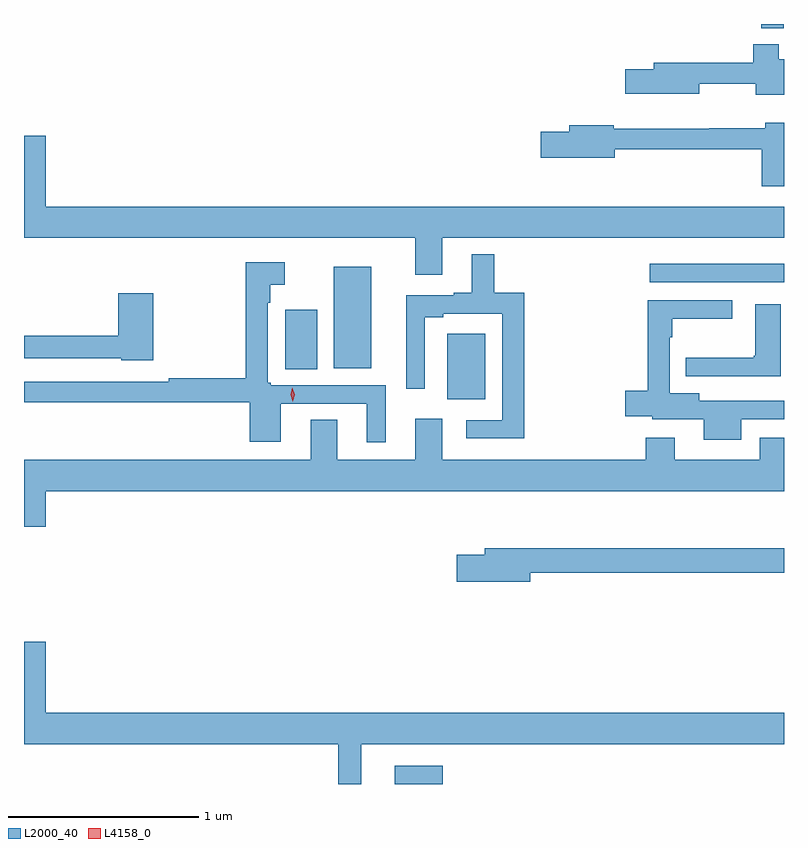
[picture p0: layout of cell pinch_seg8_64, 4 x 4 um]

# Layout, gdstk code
import gdstk
lib = gdstk.Library(unit=1e-6, precision=1e-09)
def R(c, l, rs):  # rectangles x0, y0, x1, y1
    for r in rs: c.add(gdstk.rectangle(r[:2], r[2:], *l))
def P(c, l, *ps):  # polygons
    for p in ps: c.add(gdstk.Polygon(p, *l))
L2000_40 = (2000, 40)
L4158_0 = (4158, 0)

pinch_seg8_64 = lib.new_cell('pinch_seg8_64')
R(pinch_seg8_64, L2000_40, [(910.265,1110.962,910.516,1111.057), (910.541,1112.987,910.741,1113.331), (909.689,1113.145,909.856,1113.457), (909.944,1113.149,910.141,1113.685), (911.607,1113.603,912.313,1113.7), (912.193,1114.94,912.311,1114.962)])
P(pinch_seg8_64, L2000_40, [(912.313,1114.777),(912.286,1114.777),(912.286,1114.855),(912.152,1114.855),(912.152,1114.759),(911.627,1114.759),(911.627,1114.725),(911.478,1114.725),(911.478,1114.595),(911.866,1114.595),(911.866,1114.648),(912.164,1114.648),(912.164,1114.589),(912.313,1114.589)],
  [(912.313,1114.441),(912.215,1114.441),(912.215,1114.413),(911.919,1114.413),(911.919,1114.412),(911.418,1114.412),(911.418,1114.43),(911.183,1114.43),(911.183,1114.394),(911.034,1114.394),(911.034,1114.259),(911.422,1114.259),(911.422,1114.302),(912.196,1114.302),(912.196,1114.107),(912.313,1114.107)],
  [(910.513,1113.836),(912.313,1113.836),(912.313,1114),(908.428,1114),(908.428,1114.375),(908.313,1114.375),(908.313,1113.836),(910.373,1113.836),(910.373,1113.642),(910.513,1113.642)],
  [(910.946,1113.547),(910.787,1113.547),(910.787,1113.751),(910.67,1113.751),(910.67,1113.547),(910.574,1113.547),(910.574,1113.534),(910.325,1113.534),(910.325,1113.042),(910.422,1113.042),(910.422,1113.418),(910.519,1113.418),(910.519,1113.438),(910.83,1113.438),(910.83,1112.877),(910.641,1112.877),(910.641,1112.781),(910.946,1112.781)],
  [(910.216,1113.06),(909.612,1113.06),(909.612,1113.075),(909.597,1113.075),(909.597,1113.494),(909.61,1113.494),(909.61,1113.59),(909.685,1113.59),(909.685,1113.709),(909.481,1113.709),(909.481,1113.098),(909.076,1113.098),(909.076,1113.078),(908.313,1113.078),(908.313,1112.97),(909.5,1112.97),(909.5,1112.763),(909.664,1112.763),(909.664,1112.964),(910.118,1112.964),(910.118,1112.76),(910.216,1112.76)],
  [(908.993,1113.544),(908.81,1113.544),(908.81,1113.32),(908.313,1113.32),(908.313,1113.204),(908.826,1113.204),(908.826,1113.191),(908.993,1113.191)],
  [(912.088,1112.883),(912.313,1112.883),(912.313,1112.979),(911.866,1112.979),(911.866,1113.019),(911.712,1113.019),(911.712,1113.314),(911.725,1113.314),(911.725,1113.41),(912.04,1113.41),(912.04,1113.507),(911.596,1113.507),(911.596,1113.032),(911.478,1113.032),(911.478,1112.897),(911.619,1112.897),(911.619,1112.883),(911.891,1112.883),(911.891,1112.774),(912.088,1112.774)],
  [(912.295,1113.487),(912.161,1113.487),(912.161,1113.217),(912.154,1113.217),(912.154,1113.206),(911.797,1113.206),(911.797,1113.108),(912.295,1113.108)],
  [(908.428,1112.504),(912.313,1112.504),(912.313,1112.785),(912.185,1112.785),(912.185,1112.668),(911.737,1112.668),(911.737,1112.785),(911.585,1112.785),(911.585,1112.668),(910.513,1112.668),(910.513,1112.884),(910.373,1112.884),(910.373,1112.668),(909.961,1112.668),(909.961,1112.879),(909.821,1112.879),(909.821,1112.668),(908.313,1112.668),(908.313,1112.316),(908.428,1112.316)],
  [(910.978,1112.074),(912.313,1112.074),(912.313,1112.203),(910.739,1112.203),(910.739,1112.169),(910.59,1112.169),(910.59,1112.027),(910.978,1112.027)],
  [(910.087,1111.172),(912.313,1111.172),(912.313,1111.336),(908.428,1111.336),(908.428,1111.711),(908.313,1111.711),(908.313,1111.172),(909.966,1111.172),(909.966,1110.962),(910.087,1110.962)])
P(pinch_seg8_64, L4158_0, [(909.728,1112.975),(909.728,1112.976),(909.717,1113.011),(909.725,1113.047),(909.726,1113.047),(909.726,1113.047),(909.737,1113.012),(909.728,1112.976)])

lib.write_gds('pinch_seg8_64.gds')
